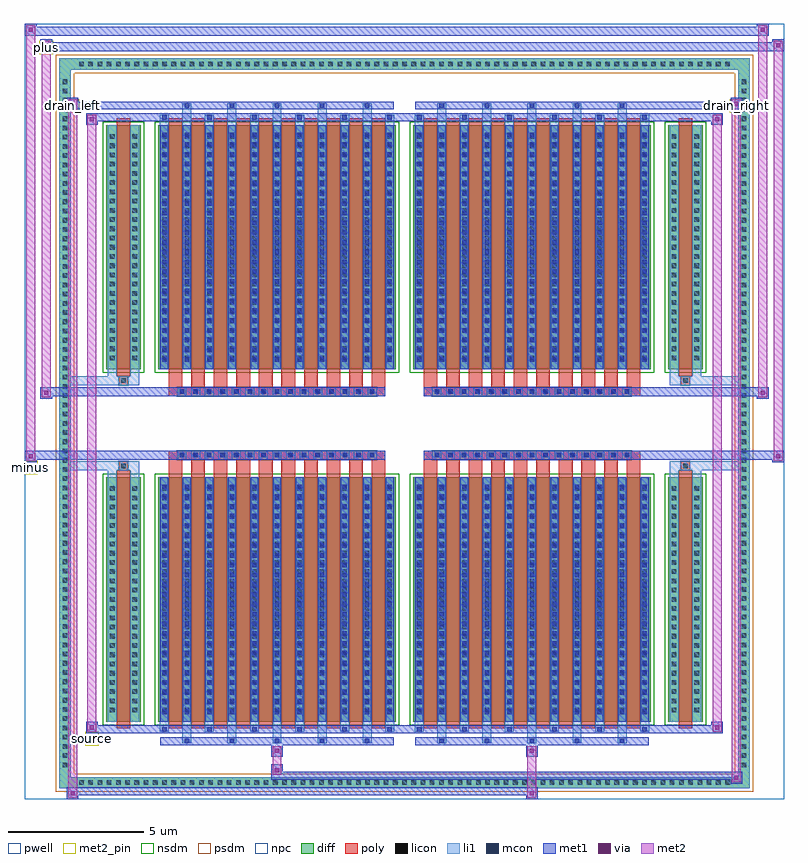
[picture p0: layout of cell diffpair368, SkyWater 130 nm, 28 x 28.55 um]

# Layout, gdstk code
import gdstk
lib = gdstk.Library(unit=1e-6, precision=5e-09)
def R(c, l, rs):  # rectangles x0, y0, x1, y1
    for r in rs: c.add(gdstk.rectangle(r[:2], r[2:], *l))
def A(c, l, x, y, w, h, nx, ny, dx, dy):  # array of equal rectangles
    R(c, l, [(x+i*dx, y+j*dy, x+i*dx+w, y+j*dy+h) for i in range(nx) for j in range(ny)])
def P(c, l, *ps):  # polygons
    for p in ps: c.add(gdstk.Polygon(p, *l))
pwell = (64, 44)
diff = (65, 20)
poly = (66, 20)
licon = (66, 44)
li1 = (67, 20)
mcon = (67, 44)
met1 = (68, 20)
via = (68, 44)
met2_pin = (69, 16)
met2 = (69, 20)
nsdm = (93, 44)
psdm = (94, 20)
npc = (95, 20)

diffpair368 = lib.new_cell('diffpair368')
R(diffpair368, pwell, [(-13.98,-13.84,13.98,14.71), (-11.3,-12.03,-0.01,-0.805), (0.01,-12.03,11.3,-0.805), (-11.3,0.805,-0.01,12.03), (0.01,0.805,11.3,12.03)])
A(diffpair368, diff, -12.105, -13.44, 0.41, 0.41, 71, 2, 0.34, 26.47)
A(diffpair368, diff, -12.71, -12.785, 0.41, 0.41, 1, 75, 0, 0.34)
A(diffpair368, diff, 12.3, -12.785, 0.41, 0.41, 1, 75, 0, 0.34)
R(diffpair368, diff, [(-12.105,-13.44,12.105,-13.03), (-12.71,-12.785,-12.3,12.785), (12.3,-12.785,12.71,12.785), (-10.99,-10.985,-9.71,-1.985), (-9.07,-10.985,-0.32,-1.985), (0.32,-10.985,9.07,-1.985), (9.71,-10.985,10.99,-1.985), (-10.99,1.985,-9.71,10.985), (-9.07,1.985,-0.32,10.985), (0.32,1.985,9.07,10.985), (9.71,1.985,10.99,10.985), (-12.105,13.03,12.105,13.44)])
P(diffpair368, diff, [(12.71,13.44),(-12.71,13.44),(-12.71,-13.03),(-12.3,-13.03),(-12.3,13.03),(12.3,13.03),(12.3,-13.03),(-12.3,-13.03),(-12.71,-13.03),(-12.71,-13.44),(12.71,-13.44)])
A(diffpair368, poly, -8.68, -11.235, 0.5, 9.5, 10, 2, 0.83, 12.97)
A(diffpair368, poly, 0.71, -11.235, 0.5, 9.5, 10, 2, 0.83, 12.97)
A(diffpair368, poly, -8.68, -1.735, 0.5, 0.4, 10, 2, 0.83, 3.07)
A(diffpair368, poly, 0.71, -1.735, 0.5, 0.4, 10, 2, 0.83, 3.07)
A(diffpair368, poly, -8.36, -1.335, 0.33, 0.33, 15, 2, 0.5, 2.34)
A(diffpair368, poly, 1.03, -1.335, 0.33, 0.33, 15, 2, 0.5, 2.34)
R(diffpair368, poly, [(-10.6,-11.235,-10.1,-1.735), (10.1,-11.235,10.6,-1.735), (-10.515,-1.735,-10.185,-1.405), (-10.515,-1.735,-10.185,-1.405), (10.185,-1.735,10.515,-1.405), (10.185,-1.735,10.515,-1.405), (-8.68,-1.335,-0.71,-1.005), (0.71,-1.335,8.68,-1.005), (-8.68,1.005,-0.71,1.335), (0.71,1.005,8.68,1.335), (-10.515,1.405,-10.185,1.735), (-10.515,1.405,-10.185,1.735), (10.185,1.405,10.515,1.735), (10.185,1.405,10.515,1.735), (-10.6,1.735,-10.1,11.235), (10.1,1.735,10.6,11.235)])
A(diffpair368, licon, -11.985, -13.32, 0.17, 0.17, 71, 2, 0.34, 26.47)
A(diffpair368, licon, -12.59, -12.665, 0.17, 0.17, 1, 75, 0, 0.34)
A(diffpair368, licon, 12.42, -12.665, 0.17, 0.17, 1, 75, 0, 0.34)
A(diffpair368, licon, -10.85, -10.65, 0.17, 0.17, 1, 25, 0, 0.34)
A(diffpair368, licon, -10.02, -10.65, 0.17, 0.17, 1, 25, 0, 0.34)
A(diffpair368, licon, -8.93, -10.65, 0.17, 0.17, 11, 25, 0.83, 0.34)
A(diffpair368, licon, 0.46, -10.65, 0.17, 0.17, 11, 25, 0.83, 0.34)
A(diffpair368, licon, 9.85, -10.65, 0.17, 0.17, 1, 25, 0, 0.34)
A(diffpair368, licon, 10.68, -10.65, 0.17, 0.17, 1, 25, 0, 0.34)
A(diffpair368, licon, -8.28, -1.255, 0.17, 0.17, 15, 2, 0.5, 2.34)
A(diffpair368, licon, 1.11, -1.255, 0.17, 0.17, 15, 2, 0.5, 2.34)
A(diffpair368, licon, -10.85, 2.32, 0.17, 0.17, 1, 25, 0, 0.34)
A(diffpair368, licon, -10.02, 2.32, 0.17, 0.17, 1, 25, 0, 0.34)
A(diffpair368, licon, -8.93, 2.32, 0.17, 0.17, 11, 25, 0.83, 0.34)
A(diffpair368, licon, 0.46, 2.32, 0.17, 0.17, 11, 25, 0.83, 0.34)
A(diffpair368, licon, 9.85, 2.32, 0.17, 0.17, 1, 25, 0, 0.34)
A(diffpair368, licon, 10.68, 2.32, 0.17, 0.17, 1, 25, 0, 0.34)
R(diffpair368, licon, [(-10.435,-1.655,-10.265,-1.485), (10.265,-1.655,10.435,-1.485), (-10.435,1.485,-10.265,1.655), (10.265,1.485,10.435,1.655)])
A(diffpair368, li1, -12.065, -13.4, 0.33, 0.33, 71, 2, 0.34, 26.47)
A(diffpair368, li1, -12.67, -12.745, 0.33, 0.33, 1, 75, 0, 0.34)
A(diffpair368, li1, 12.34, -12.745, 0.33, 0.33, 1, 75, 0, 0.34)
A(diffpair368, li1, -8.18, -11.79, 0.33, 0.805, 5, 2, 1.66, 22.775)
A(diffpair368, li1, -8.1, -11.79, 0.17, 0.17, 5, 2, 1.66, 23.41)
A(diffpair368, li1, 1.21, -11.79, 0.33, 0.805, 5, 2, 1.66, 22.775)
A(diffpair368, li1, 1.29, -11.79, 0.17, 0.17, 5, 2, 1.66, 23.41)
A(diffpair368, li1, -9.01, -11.36, 0.33, 0.375, 6, 2, 1.66, 22.345)
A(diffpair368, li1, -8.93, -11.36, 0.17, 0.17, 6, 2, 1.66, 22.55)
A(diffpair368, li1, 0.38, -11.36, 0.33, 0.375, 6, 2, 1.66, 22.345)
A(diffpair368, li1, 0.46, -11.36, 0.17, 0.17, 6, 2, 1.66, 22.55)
A(diffpair368, li1, -9.01, -10.985, 0.33, 9, 11, 2, 0.83, 12.97)
A(diffpair368, li1, 0.38, -10.985, 0.33, 9, 11, 2, 0.83, 12.97)
A(diffpair368, li1, -10.93, -10.73, 0.33, 0.33, 1, 25, 0, 0.34)
A(diffpair368, li1, -10.1, -10.73, 0.33, 0.33, 1, 25, 0, 0.34)
A(diffpair368, li1, -9.01, -10.73, 0.33, 0.33, 11, 25, 0.83, 0.34)
A(diffpair368, li1, 0.38, -10.73, 0.33, 0.33, 11, 25, 0.83, 0.34)
A(diffpair368, li1, 9.77, -10.73, 0.33, 0.33, 1, 25, 0, 0.34)
A(diffpair368, li1, 10.6, -10.73, 0.33, 0.33, 1, 25, 0, 0.34)
A(diffpair368, li1, -8.93, -10.71, 0.17, 0.17, 11, 24, 0.83, 0.36)
A(diffpair368, li1, -8.93, -10.71, 0.17, 8.45, 11, 2, 0.83, 12.97)
A(diffpair368, li1, 0.46, -10.71, 0.17, 0.17, 11, 24, 0.83, 0.36)
A(diffpair368, li1, 0.46, -10.71, 0.17, 8.45, 11, 2, 0.83, 12.97)
A(diffpair368, li1, -8.36, -1.335, 0.33, 0.33, 15, 2, 0.5, 2.34)
A(diffpair368, li1, 1.03, -1.335, 0.33, 0.33, 15, 2, 0.5, 2.34)
A(diffpair368, li1, -10.93, 2.24, 0.33, 0.33, 1, 25, 0, 0.34)
A(diffpair368, li1, -10.1, 2.24, 0.33, 0.33, 1, 25, 0, 0.34)
A(diffpair368, li1, -9.01, 2.24, 0.33, 0.33, 11, 25, 0.83, 0.34)
A(diffpair368, li1, 0.38, 2.24, 0.33, 0.33, 11, 25, 0.83, 0.34)
A(diffpair368, li1, 9.77, 2.24, 0.33, 0.33, 1, 25, 0, 0.34)
A(diffpair368, li1, 10.6, 2.24, 0.33, 0.33, 1, 25, 0, 0.34)
A(diffpair368, li1, -8.93, 2.26, 0.17, 0.17, 11, 24, 0.83, 0.36)
A(diffpair368, li1, 0.46, 2.26, 0.17, 0.17, 11, 24, 0.83, 0.36)
R(diffpair368, li1, [(-12.71,-13.44,-12.3,-13.03), (-12.71,-13.44,-12.3,-13.03), (-12.3,-13.44,12.3,-13.03), (12.3,-13.44,12.71,-13.03), (12.3,-13.44,12.71,-13.03), (-12.71,-13.03,-12.3,13.03), (12.3,-13.03,12.71,13.03), (-10.93,-10.985,-10.6,-1.985), (-10.1,-10.985,-9.77,-1.985), (9.77,-10.985,10.1,-1.985), (10.6,-10.985,10.93,-1.985), (-10.93,-1.985,-10.6,-1.405), (-10.1,-1.985,-9.77,-1.405), (9.77,-1.985,10.1,-1.405), (10.6,-1.985,10.93,-1.405), (-12.71,-1.735,-10.515,-1.405), (-10.93,-1.735,-10.515,-1.405), (-10.515,-1.735,-10.185,-1.405), (-10.185,-1.735,-9.77,-1.405), (9.77,-1.735,10.185,-1.405), (10.185,-1.735,10.515,-1.405), (10.185,-1.735,12.71,-1.405), (10.515,-1.735,10.93,-1.405), (-12.71,1.405,-10.515,1.735), (-10.93,1.405,-10.515,1.735), (-10.93,1.405,-10.6,1.985), (-10.515,1.405,-10.185,1.735), (-10.185,1.405,-9.77,1.735), (-10.1,1.405,-9.77,1.985), (9.77,1.405,10.185,1.735), (9.77,1.405,10.1,1.985), (10.185,1.405,10.515,1.735), (10.185,1.405,12.71,1.735), (10.515,1.405,10.93,1.735), (10.6,1.405,10.93,1.985), (-10.93,1.985,-10.6,10.985), (-10.1,1.985,-9.77,10.985), (9.77,1.985,10.1,10.985), (10.6,1.985,10.93,10.985), (-12.71,13.03,-12.3,13.44), (-12.71,13.03,-12.3,13.44), (-12.3,13.03,12.3,13.44), (12.3,13.03,12.71,13.44), (12.3,13.03,12.71,13.44)])
A(diffpair368, mcon, -8.1, -11.79, 0.17, 0.17, 5, 2, 1.66, 23.41)
A(diffpair368, mcon, 1.29, -11.79, 0.17, 0.17, 5, 2, 1.66, 23.41)
A(diffpair368, mcon, -8.93, -11.36, 0.17, 0.17, 6, 2, 1.66, 22.55)
A(diffpair368, mcon, 0.46, -11.36, 0.17, 0.17, 6, 2, 1.66, 22.55)
A(diffpair368, mcon, -8.93, -10.71, 0.17, 0.17, 11, 24, 0.83, 0.36)
A(diffpair368, mcon, 0.46, -10.71, 0.17, 0.17, 11, 24, 0.83, 0.36)
A(diffpair368, mcon, -8.28, -1.255, 0.17, 0.17, 15, 2, 0.5, 2.34)
A(diffpair368, mcon, 1.11, -1.255, 0.17, 0.17, 15, 2, 0.5, 2.34)
A(diffpair368, mcon, -8.93, 2.26, 0.17, 0.17, 11, 24, 0.83, 0.36)
A(diffpair368, mcon, 0.46, 2.26, 0.17, 0.17, 11, 24, 0.83, 0.36)
A(diffpair368, met1, -8.16, -11.85, 0.29, 0.29, 5, 2, 1.66, 23.41)
A(diffpair368, met1, 1.23, -11.85, 0.29, 0.29, 5, 2, 1.66, 23.41)
A(diffpair368, met1, -8.99, -11.42, 0.29, 0.29, 6, 2, 1.66, 22.55)
A(diffpair368, met1, 0.4, -11.42, 0.29, 0.29, 6, 2, 1.66, 22.55)
A(diffpair368, met1, -8.99, -10.985, 0.29, 9, 11, 2, 0.83, 12.97)
A(diffpair368, met1, 0.4, -10.985, 0.29, 9, 11, 2, 0.83, 12.97)
A(diffpair368, met1, -8.99, -10.77, 0.29, 0.29, 11, 24, 0.83, 0.36)
A(diffpair368, met1, 0.4, -10.77, 0.29, 0.29, 11, 24, 0.83, 0.36)
A(diffpair368, met1, -8.34, -1.315, 0.29, 0.29, 15, 2, 0.5, 2.34)
A(diffpair368, met1, 1.05, -1.315, 0.29, 0.29, 15, 2, 0.5, 2.34)
A(diffpair368, met1, -8.99, 2.2, 0.29, 0.29, 11, 24, 0.83, 0.36)
A(diffpair368, met1, 0.4, 2.2, 0.29, 0.29, 11, 24, 0.83, 0.36)
R(diffpair368, met1, [(-12.44,-13.84,-12.01,-13.41), (4.48,-13.84,4.91,-13.41), (-12.44,-13.7,4.91,-13.41), (12.01,-13.27,12.44,-12.84), (-4.91,-13.13,12.44,-12.84), (-4.91,-12.99,-4.48,-12.56), (-4.91,-12.28,-4.48,-11.85), (4.48,-12.28,4.91,-11.85), (-8.99,-11.85,-0.4,-11.56), (0.4,-11.85,8.99,-11.56), (-11.73,-11.42,-11.3,-10.99), (-11.73,-11.42,-8.99,-11.13), (-8.99,-11.42,-0.4,-11.13), (-0.4,-11.42,0.4,-11.13), (0.4,-11.42,8.99,-11.13), (8.99,-11.42,11.73,-11.13), (11.3,-11.42,11.73,-10.99), (-13.98,-1.435,-13.55,-1.005), (13.55,-1.435,13.98,-1.005), (-13.98,-1.335,-0.71,-1.005), (-8.68,-1.335,-0.71,-1.005), (0.71,-1.335,8.68,-1.005), (0.71,-1.335,13.98,-1.005), (-13.41,0.905,-12.98,1.335), (12.98,0.905,13.41,1.335), (-13.41,1.005,-8.68,1.335), (-8.68,1.005,-0.71,1.335), (0.71,1.005,8.68,1.335), (8.68,1.005,13.41,1.335), (-11.73,10.99,-11.3,11.42), (11.3,10.99,11.73,11.42), (-11.73,11.13,-8.99,11.42), (-8.99,11.13,-0.4,11.42), (-0.4,11.13,0.4,11.42), (0.4,11.13,8.99,11.42), (8.99,11.13,11.73,11.42), (-12.44,11.56,-12.01,11.99), (-12.44,11.56,-8.99,11.85), (-8.99,11.56,-0.4,11.85), (0.4,11.56,8.99,11.85), (8.99,11.56,12.44,11.85), (12.01,11.56,12.44,11.99), (-13.41,13.71,-12.98,14.14), (-13.41,13.71,-11.3,14.04), (-11.3,13.71,11.3,14.04), (11.3,13.71,13.98,14.04), (13.55,13.71,13.98,14.14), (-13.98,14.28,-13.55,14.71), (-13.98,14.28,-11.3,14.61), (-11.3,14.28,11.3,14.61), (11.3,14.28,13.41,14.61), (12.98,14.28,13.41,14.71)])
R(diffpair368, via, [(-12.3,-13.7,-12.15,-13.55), (4.62,-13.7,4.77,-13.55), (12.15,-13.13,12.3,-12.98), (-4.77,-12.85,-4.62,-12.7), (-4.77,-12.14,-4.62,-11.99), (4.62,-12.14,4.77,-11.99), (-11.59,-11.28,-11.44,-11.13), (11.44,-11.28,11.59,-11.13), (-13.84,-1.295,-13.69,-1.145), (13.69,-1.295,13.84,-1.145), (-13.27,1.045,-13.12,1.195), (13.12,1.045,13.27,1.195), (-11.59,11.13,-11.44,11.28), (11.44,11.13,11.59,11.28), (-12.3,11.7,-12.15,11.85), (12.15,11.7,12.3,11.85), (-13.27,13.85,-13.12,14), (13.69,13.85,13.84,14), (-13.84,14.42,-13.69,14.57), (13.12,14.42,13.27,14.57)])
R(diffpair368, met2_pin, [(-11.765,-11.87,-11.265,-11.37), (-14.015,-1.885,-13.515,-1.385), (-12.475,11.44,-11.975,11.94), (11.975,11.44,12.475,11.94), (-13.445,13.59,-12.945,14.09)])
R(diffpair368, met2, [(-12.39,-13.79,-12.06,-13.46), (-12.39,-13.79,-12.06,11.94), (4.53,-13.79,4.86,-13.46), (4.53,-13.46,4.86,-12.23), (12.06,-13.22,12.39,-12.89), (12.06,-13.22,12.39,11.94), (-4.86,-12.94,-4.53,-12.61), (-4.86,-12.61,-4.53,-12.23), (-4.86,-12.23,-4.53,-11.9), (4.53,-12.23,4.86,-11.9), (-11.68,-11.37,-11.35,-11.04), (-11.68,-11.37,-11.35,11.37), (11.35,-11.37,11.68,-11.04), (11.35,-11.37,11.68,11.37), (-13.93,-1.385,-13.6,-1.055), (-13.93,-1.385,-13.6,14.66), (13.6,-1.385,13.93,-1.055), (13.6,-1.385,13.93,14.09), (-13.36,0.955,-13.03,1.285), (-13.36,0.955,-13.03,14.09), (13.03,0.955,13.36,1.285), (13.03,0.955,13.36,14.66), (-11.68,11.04,-11.35,11.37), (11.35,11.04,11.68,11.37), (-12.39,11.61,-12.06,11.94), (12.06,11.61,12.39,11.94), (-13.36,13.76,-13.03,14.09), (13.6,13.76,13.93,14.09), (-13.93,14.33,-13.6,14.66), (13.03,14.33,13.36,14.66)])
P(diffpair368, met2, [(13.93,-1.385),(13.93,-1.385),(13.93,-1.055),(13.93,-1.055)],
  [(13.93,13.76),(13.93,13.76),(13.93,14.09),(13.93,14.09)],
  [(-13.6,-1.385),(-13.6,-1.385),(-13.6,-1.055),(-13.6,-1.055)],
  [(-13.6,14.33),(-13.6,14.33),(-13.6,14.66),(-13.6,14.66)],
  [(13.36,0.955),(13.36,0.955),(13.36,1.285),(13.36,1.285)],
  [(13.36,14.33),(13.36,14.33),(13.36,14.66),(13.36,14.66)],
  [(-13.03,0.955),(-13.03,0.955),(-13.03,1.285),(-13.03,1.285)],
  [(-13.03,13.76),(-13.03,13.76),(-13.03,14.09),(-13.03,14.09)],
  [(-12.06,-13.79),(-12.06,-13.79),(-12.06,-13.46),(-12.06,-13.46)],
  [(-12.06,11.61),(-12.06,11.61),(-12.06,11.94),(-12.06,11.94)],
  [(12.39,-13.22),(12.39,-13.22),(12.39,-12.89),(12.39,-12.89)],
  [(12.39,11.61),(12.39,11.61),(12.39,11.94),(12.39,11.94)],
  [(-11.35,-11.37),(-11.35,-11.37),(-11.35,-11.04),(-11.35,-11.04)],
  [(-11.35,11.04),(-11.35,11.04),(-11.35,11.37),(-11.35,11.37)],
  [(11.68,-11.37),(11.68,-11.37),(11.68,-11.04),(11.68,-11.04)],
  [(11.68,11.04),(11.68,11.04),(11.68,11.37),(11.68,11.37)])
R(diffpair368, nsdm, [(-11.12,-11.115,-9.58,-1.855), (-9.2,-11.115,-0.19,-1.855), (0.19,-11.115,9.2,-1.855), (9.58,-11.115,11.12,-1.855), (-11.12,1.855,-9.58,11.115), (-9.2,1.855,-0.19,11.115), (0.19,1.855,9.2,11.115), (9.58,1.855,11.12,11.115)])
P(diffpair368, psdm, [(12.84,13.57),(-12.84,13.57),(-12.84,-12.9),(-12.17,-12.9),(-12.17,12.9),(12.17,12.9),(12.17,-12.9),(-12.17,-12.9),(-12.84,-12.9),(-12.84,-13.57),(12.84,-13.57)])
A(diffpair368, npc, -8.38, -1.355, 0.37, 0.37, 15, 2, 0.5, 2.34)
A(diffpair368, npc, 1.01, -1.355, 0.37, 0.37, 15, 2, 0.5, 2.34)
R(diffpair368, npc, [(-10.535,-1.755,-10.165,-1.385), (10.165,-1.755,10.535,-1.385), (-8.38,-1.355,-7.51,-0.985), (-8.38,-1.355,-7.51,-0.985), (-7.88,-1.355,-7.01,-0.985), (-7.88,-1.355,-7.01,-0.985), (-7.38,-1.355,-6.51,-0.985), (-7.38,-1.355,-6.51,-0.985), (-6.88,-1.355,-6.01,-0.985), (-6.88,-1.355,-6.01,-0.985), (-6.38,-1.355,-5.51,-0.985), (-6.38,-1.355,-5.51,-0.985), (-5.88,-1.355,-5.01,-0.985), (-5.88,-1.355,-5.01,-0.985), (-5.38,-1.355,-4.51,-0.985), (-5.38,-1.355,-4.51,-0.985), (-4.88,-1.355,-4.01,-0.985), (-4.88,-1.355,-4.01,-0.985), (-4.38,-1.355,-3.51,-0.985), (-4.38,-1.355,-3.51,-0.985), (-3.88,-1.355,-3.01,-0.985), (-3.88,-1.355,-3.01,-0.985), (-3.38,-1.355,-2.51,-0.985), (-3.38,-1.355,-2.51,-0.985), (-2.88,-1.355,-2.01,-0.985), (-2.88,-1.355,-2.01,-0.985), (-2.38,-1.355,-1.51,-0.985), (-2.38,-1.355,-1.51,-0.985), (-1.88,-1.355,-1.01,-0.985), (-1.88,-1.355,-1.01,-0.985), (1.01,-1.355,1.88,-0.985), (1.01,-1.355,1.88,-0.985), (1.51,-1.355,2.38,-0.985), (1.51,-1.355,2.38,-0.985), (2.01,-1.355,2.88,-0.985), (2.01,-1.355,2.88,-0.985), (2.51,-1.355,3.38,-0.985), (2.51,-1.355,3.38,-0.985), (3.01,-1.355,3.88,-0.985), (3.01,-1.355,3.88,-0.985), (3.51,-1.355,4.38,-0.985), (3.51,-1.355,4.38,-0.985), (4.01,-1.355,4.88,-0.985), (4.01,-1.355,4.88,-0.985), (4.51,-1.355,5.38,-0.985), (4.51,-1.355,5.38,-0.985), (5.01,-1.355,5.88,-0.985), (5.01,-1.355,5.88,-0.985), (5.51,-1.355,6.38,-0.985), (5.51,-1.355,6.38,-0.985), (6.01,-1.355,6.88,-0.985), (6.01,-1.355,6.88,-0.985), (6.51,-1.355,7.38,-0.985), (6.51,-1.355,7.38,-0.985), (7.01,-1.355,7.88,-0.985), (7.01,-1.355,7.88,-0.985), (7.51,-1.355,8.38,-0.985), (7.51,-1.355,8.38,-0.985), (-8.38,0.985,-7.51,1.355), (-8.38,0.985,-7.51,1.355), (-7.88,0.985,-7.01,1.355), (-7.88,0.985,-7.01,1.355), (-7.38,0.985,-6.51,1.355), (-7.38,0.985,-6.51,1.355), (-6.88,0.985,-6.01,1.355), (-6.88,0.985,-6.01,1.355), (-6.38,0.985,-5.51,1.355), (-6.38,0.985,-5.51,1.355), (-5.88,0.985,-5.01,1.355), (-5.88,0.985,-5.01,1.355), (-5.38,0.985,-4.51,1.355), (-5.38,0.985,-4.51,1.355), (-4.88,0.985,-4.01,1.355), (-4.88,0.985,-4.01,1.355), (-4.38,0.985,-3.51,1.355), (-4.38,0.985,-3.51,1.355), (-3.88,0.985,-3.01,1.355), (-3.88,0.985,-3.01,1.355), (-3.38,0.985,-2.51,1.355), (-3.38,0.985,-2.51,1.355), (-2.88,0.985,-2.01,1.355), (-2.88,0.985,-2.01,1.355), (-2.38,0.985,-1.51,1.355), (-2.38,0.985,-1.51,1.355), (-1.88,0.985,-1.01,1.355), (-1.88,0.985,-1.01,1.355), (1.01,0.985,1.88,1.355), (1.01,0.985,1.88,1.355), (1.51,0.985,2.38,1.355), (1.51,0.985,2.38,1.355), (2.01,0.985,2.88,1.355), (2.01,0.985,2.88,1.355), (2.51,0.985,3.38,1.355), (2.51,0.985,3.38,1.355), (3.01,0.985,3.88,1.355), (3.01,0.985,3.88,1.355), (3.51,0.985,4.38,1.355), (3.51,0.985,4.38,1.355), (4.01,0.985,4.88,1.355), (4.01,0.985,4.88,1.355), (4.51,0.985,5.38,1.355), (4.51,0.985,5.38,1.355), (5.01,0.985,5.88,1.355), (5.01,0.985,5.88,1.355), (5.51,0.985,6.38,1.355), (5.51,0.985,6.38,1.355), (6.01,0.985,6.88,1.355), (6.01,0.985,6.88,1.355), (6.51,0.985,7.38,1.355), (6.51,0.985,7.38,1.355), (7.01,0.985,7.88,1.355), (7.01,0.985,7.88,1.355), (7.51,0.985,8.38,1.355), (7.51,0.985,8.38,1.355), (-10.535,1.385,-10.165,1.755), (10.165,1.385,10.535,1.755)])
diffpair368.add(gdstk.Label('minus', (-13.765,-1.635), layer=69, texttype=5))
diffpair368.add(gdstk.Label('drain_right', (12.225,11.69), layer=69, texttype=5))
diffpair368.add(gdstk.Label('drain_left', (-12.225,11.69), layer=69, texttype=5))
diffpair368.add(gdstk.Label('source', (-11.515,-11.62), layer=69, texttype=5))
diffpair368.add(gdstk.Label('plus', (-13.195,13.84), layer=69, texttype=5))

lib.write_gds('diffpair368.gds')
